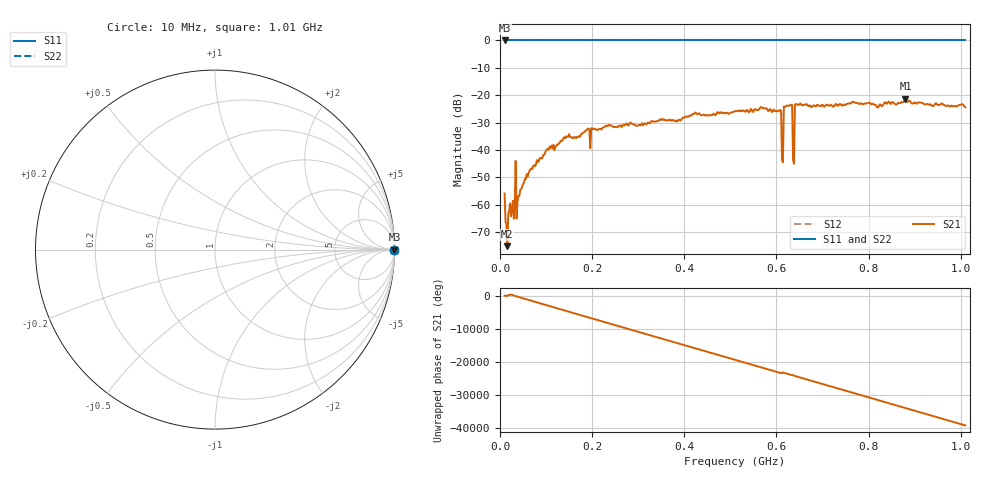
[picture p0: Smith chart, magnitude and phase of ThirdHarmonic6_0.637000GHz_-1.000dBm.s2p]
! 8/15/2025 9:04:01 PM
! C:\ANRITSUVNA\TEMP\TEMP.S2P
! CHANNEL.1
! TR.MEASUREMENT
! RAW.DATA
! RF.CORRECTION.OFF
! AVERAGING.OFF
! IF.BANDWIDTH: 5KHZ
! SWEEPTYPE:  FREQ.SWEEP(Linear)
! Reference Plane Port Info
! PORT:  PORT1  PORT2
! DISTANCE:  0  m  0  m
! TIME:  0  s  0  s
! PHASE.OFFSET:  0  deg.  0  deg.
! LOSS:  0  dB  0  dB
! REF.LOSS:  0  dB  0  dB
! REF.FREQ:  0  Hz  0  Hz
! Power Info
! POWER:  -20  dBm  -20  dBm
! EFF.POWER:  -20  dBm  -20  dBm
! SOURCE.ATTEN:  0  dB  0  dB
! TEST.ATTEN:  0  dB  0  dB
# GHZ S RI R 50.0
! FREQ.GHZ  S11RE  S11IM  S21RE  S21IM  S12RE  S12IM  S22RE  S22IM
!; PortSelection: Port_12
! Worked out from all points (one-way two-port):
!   501 points, 10 MHz to 1.01 GHz, reference 50 ohm
!   highest |S21| = -21.28 dB at 880 MHz (marker M1); lowest = -75.2 dB at 16 MHz (marker M2)
!   lowest |S11| = 0.0 dB at 10 MHz (marker M3)
!   |S11| at or under -10 dB: nowhere
!   |S22| runs from 0.0 to 0.0 dB; largest |S21 - S12| = 1.1
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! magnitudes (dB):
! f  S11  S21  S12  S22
! 10 MHz  0.0  -55.9  0.0  0.0
! 16 MHz  0.0  -75.2  0.0  0.0
! 28 MHz  0.0  -58.6  0.0  0.0
! 30 MHz  0.0  -65.1  0.0  0.0
! 40 MHz  0.0  -56.8  0.0  0.0
! 70 MHz  0.0  -46.9  0.0  0.0
! 108 MHz  0.0  -38.8  0.0  0.0
! 178 MHz  0.0  -34.1  0.0  0.0
! 344 MHz  0.0  -29.4  0.0  0.0
! 510 MHz  0.0  -25.9  0.0  0.0
! 606 MHz  0.0  -25.6  0.0  0.0
! 610 MHz  0.0  -25.7  0.0  0.0
! 616 MHz  0.0  -24.1  0.0  0.0
! 620 MHz  0.0  -24.2  0.0  0.0
! 630 MHz  0.0  -23.7  0.0  0.0
! 634 MHz  0.0  -23.6  0.0  0.0
! 640 MHz  0.0  -23.4  0.0  0.0
! 644 MHz  0.0  -23.3  0.0  0.0
! 678 MHz  0.0  -24.0  0.0  0.0
! 844 MHz  0.0  -22.3  0.0  0.0
! 880 MHz  0.0  -21.3  0.0  0.0
! 1.01 GHz  0.0  -24.4  0.0  0.0
